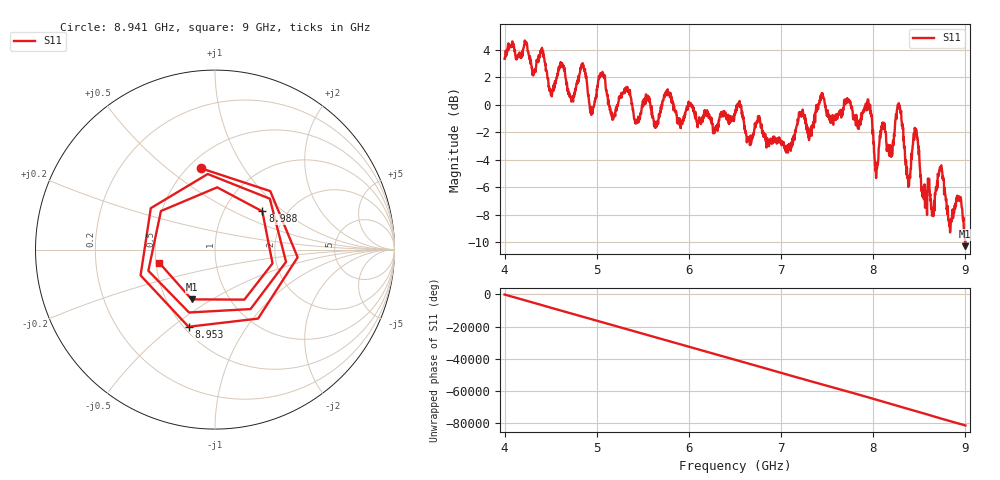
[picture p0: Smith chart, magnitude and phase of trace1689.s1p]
! Created with skrf 1.8.0 (http://scikit-rf.org).
# Hz S RI R 50.0
!freq ReS11 ImS11
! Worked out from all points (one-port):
!   1601 points, 4 GHz to 9 GHz, reference 50 ohm
!   lowest |S11| = -10.3 dB at 8.997 GHz (marker M1), VSWR 1.88, Z = 33.5 - j20.5 ohm
!   |S11| at or under -10 dB: 8.99522 GHz to 8.999414 GHz (4.194 MHz wide, 0.0466 % of centre)
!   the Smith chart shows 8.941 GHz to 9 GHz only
!   S11 on the Smith chart (normalised r, x): 8.941 GHz: 0.58, +0.66; 8.953 GHz: 0.53, -0.57; 8.988 GHz: 1.51, +0.72; 9 GHz: 0.52, -0.09
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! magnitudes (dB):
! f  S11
! 4 GHz  3.3
! 4.406 GHz  4.2
! 4.509 GHz  0.9
! 4.625 GHz  3.0
! 4.731 GHz  0.5
! 4.853 GHz  2.9
! 4.944 GHz  -0.6
! 5.047 GHz  2.1
! 5.166 GHz  -0.8
! 5.25 GHz  0.7
! 5.875 GHz  -1.0
! 6.5 GHz  -0.7
! 7.125 GHz  -2.8
! 7.444 GHz  0.8
! 7.75 GHz  0.2
! 7.959 GHz  -0.4
! 8.034 GHz  -5.0
! 8.281 GHz  -0.2
! 8.375 GHz  -5.2
! 8.459 GHz  -1.7
! 8.559 GHz  -6.4
! 8.725 GHz  -4.5
! 8.828 GHz  -8.8
! 8.941 GHz  -6.8
! 8.953 GHz  -6.8
! 8.988 GHz  -9.4
! 8.997 GHz  -10.3
! 9 GHz  -9.9
